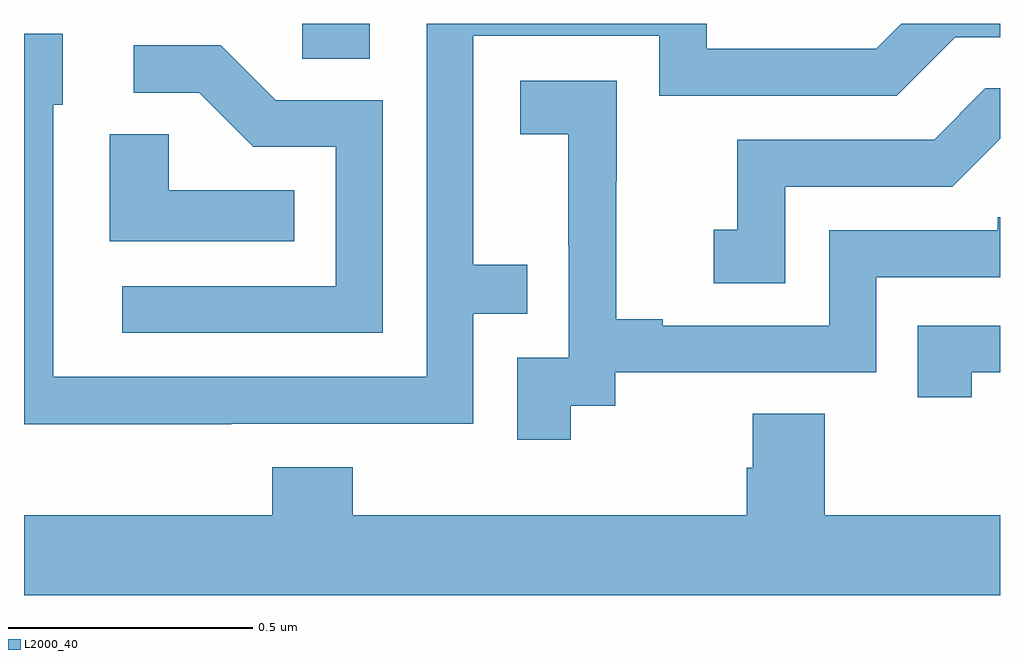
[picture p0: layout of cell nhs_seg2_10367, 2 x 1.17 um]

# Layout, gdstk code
import gdstk
lib = gdstk.Library(unit=1e-6, precision=1e-09)
def R(c, l, rs):  # rectangles x0, y0, x1, y1
    for r in rs: c.add(gdstk.rectangle(r[:2], r[2:], *l))
def P(c, l, *ps):  # polygons
    for p in ps: c.add(gdstk.Polygon(p, *l))
L2000_40 = (2000, 40)

nhs_seg2_10367 = lib.new_cell('nhs_seg2_10367')
R(nhs_seg2_10367, L2000_40, [(240.57,656.728,240.709,656.8)])
P(nhs_seg2_10367, L2000_40, [(240.425,655.98),(240.921,655.98),(240.921,656.205),(241.031,656.205),(241.031,656.306),(240.921,656.306),(240.921,656.775),(241.302,656.775),(241.302,656.652),(241.788,656.652),(241.908,656.772),(242,656.772),(242,656.8),(241.798,656.8),(241.746,656.748),(241.399,656.748),(241.399,656.8),(240.825,656.8),(240.825,656.076),(240.06,656.076),(240.06,656.634),(240.079,656.634),(240.079,656.779),(240,656.779),(240,655.979),(240.425,655.979)],
  [(240.735,656.643),(240.516,656.643),(240.403,656.756),(240.225,656.756),(240.225,656.658),(240.359,656.658),(240.47,656.547),(240.639,656.547),(240.639,656.262),(240.201,656.262),(240.201,656.166),(240.735,656.166)],
  [(241.12,656.017),(241.212,656.017),(241.212,656.085),(241.746,656.085),(241.746,656.28),(242,656.28),(242,656.403),(241.995,656.403),(241.995,656.376),(241.65,656.376),(241.65,656.181),(241.309,656.181),(241.309,656.194),(241.214,656.194),(241.214,656.477),(241.215,656.477),(241.215,656.683),(241.017,656.683),(241.017,656.573),(241.115,656.573),(241.115,656.345),(241.116,656.345),(241.116,656.115),(241.011,656.115),(241.011,655.947),(241.12,655.947)],
  [(241.56,656.466),(241.902,656.466),(242,656.564),(242,656.667),(241.97,656.667),(241.865,656.562),(241.462,656.562),(241.462,656.377),(241.413,656.377),(241.413,656.268),(241.56,656.268)],
  [(240.554,656.458),(240.297,656.458),(240.297,656.573),(240.176,656.573),(240.176,656.354),(240.554,656.354)],
  [(241.942,656.085),(242,656.085),(242,656.181),(241.831,656.181),(241.831,656.034),(241.942,656.034)],
  [(242,655.792),(241.641,655.792),(241.641,656),(241.493,656),(241.493,655.89),(241.481,655.89),(241.481,655.792),(240.674,655.792),(240.674,655.891),(240.509,655.891),(240.509,655.792),(240,655.792),(240,655.628),(242,655.628)])

lib.write_gds('nhs_seg2_10367.gds')
